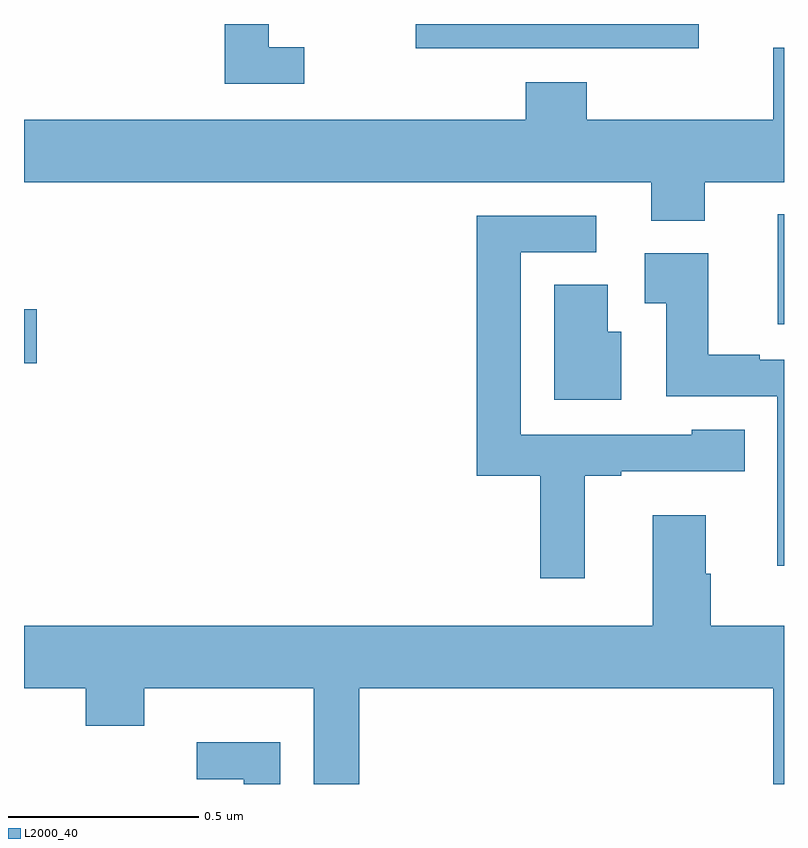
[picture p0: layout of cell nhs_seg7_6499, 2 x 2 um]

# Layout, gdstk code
import gdstk
lib = gdstk.Library(unit=1e-6, precision=1e-09)
def R(c, l, rs):  # rectangles x0, y0, x1, y1
    for r in rs: c.add(gdstk.rectangle(r[:2], r[2:], *l))
def P(c, l, *ps):  # polygons
    for p in ps: c.add(gdstk.Polygon(p, *l))
L2000_40 = (2000, 40)

nhs_seg7_6499 = lib.new_cell('nhs_seg7_6499')
R(nhs_seg7_6499, L2000_40, [(199,1032.107,199.033,1032.249), (200.984,1032.21,201,1032.499), (200.031,1032.936,200.776,1033)])
P(nhs_seg7_6499, L2000_40, [(199.738,1032.939),(199.644,1032.939),(199.644,1033),(199.528,1033),(199.528,1032.843),(199.738,1032.843)],
  [(200.791,1032.584),(201,1032.584),(201,1032.937),(200.972,1032.937),(200.972,1032.748),(200.481,1032.748),(200.481,1032.847),(200.321,1032.847),(200.321,1032.748),(199,1032.748),(199,1032.584),(200.651,1032.584),(200.651,1032.482),(200.791,1032.482)],
  [(200.476,1031.811),(200.572,1031.811),(200.572,1031.823),(200.897,1031.823),(200.897,1031.932),(200.757,1031.932),(200.757,1031.919),(200.307,1031.919),(200.307,1032.399),(200.506,1032.399),(200.506,1032.495),(200.191,1032.495),(200.191,1031.811),(200.359,1031.811),(200.359,1031.541),(200.476,1031.541)],
  [(201,1032.117),(200.936,1032.117),(200.936,1032.13),(200.8,1032.13),(200.8,1032.397),(200.634,1032.397),(200.634,1032.265),(200.69,1032.265),(200.69,1032.021),(200.982,1032.021),(200.982,1031.574),(201,1031.574)],
  [(200.572,1032.19),(200.536,1032.19),(200.536,1032.314),(200.396,1032.314),(200.396,1032.011),(200.572,1032.011)],
  [(199,1031.252),(199.162,1031.252),(199.162,1031.153),(199.317,1031.153),(199.317,1031.252),(199.763,1031.252),(199.763,1031),(199.882,1031),(199.882,1031.252),(200.972,1031.252),(200.972,1031),(201,1031),(201,1031.416),(200.807,1031.416),(200.807,1031.553),(200.794,1031.553),(200.794,1031.707),(200.654,1031.707),(200.654,1031.416),(199,1031.416)],
  [(199.674,1031.11),(199.455,1031.11),(199.455,1031.013),(199.578,1031.013),(199.578,1031),(199.674,1031)])

lib.write_gds('nhs_seg7_6499.gds')
